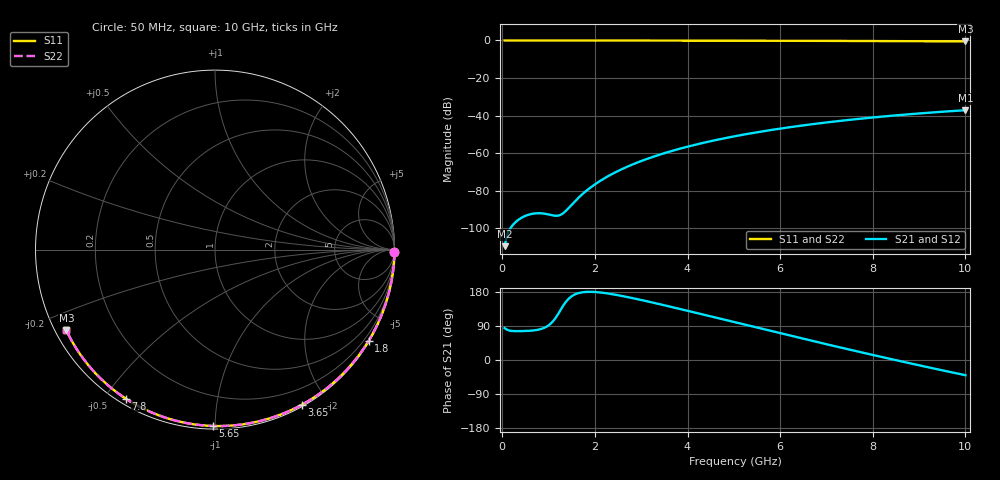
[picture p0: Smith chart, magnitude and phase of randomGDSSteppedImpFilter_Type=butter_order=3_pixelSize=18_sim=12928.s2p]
! freq	dB(S11)	phase(S11)	dB(S12)	phase(S12)
!  dB(S21)	phase(S21)	dB(S22)	phase(S22)
!S-par simulation data
#  GHz  S  DB  R 50
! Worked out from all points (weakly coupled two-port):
!   200 points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, 50 MHz to 10 GHz, reference 50 ohm
!   highest |S21| = -37.12 dB at 10 GHz (marker M1); lowest = -109.5 dB at 50 MHz (marker M2)
!   lowest |S11| = -0.5 dB at 10 GHz (marker M3), VSWR 33.65, Z = 1.58 - j12.7 ohm
!   |S11| at or under -10 dB: nowhere
!   |S22| runs from -0.5 to 0.0 dB; largest |S21 - S12| = 0
!   S11 on the Smith chart (normalised r, x): 50 MHz: open; 1.8 GHz: 0.03, -3.65; 3.65 GHz: 0.02, -1.71; 5.65 GHz: 0.02, -0.99; 7.8 GHz: 0.02, -0.57; 10 GHz: 0.03, -0.25
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0.05  -0.00 -0.9  -109.49 84.2  -109.49 84.2  -0.00 -0.9
0.45  -0.01 -7.8  -93.91 76.4  -93.91 76.4  -0.01 -7.8
0.9  -0.02 -15.5  -92.14 84.6  -92.14 84.6  -0.02 -15.5
1.75  -0.04 -29.8  -81.36 179.0  -81.36 179.0  -0.04 -29.8
1.8  -0.04 -30.7  -80.31 179.6  -80.31 179.6  -0.04 -30.7
1.85  -0.04 -31.5  -79.32 179.9  -79.32 179.9  -0.04 -31.5
2  -0.04 -34.0  -76.59 179.4  -76.59 179.4  -0.04 -34.0
2.15  -0.05 -36.5  -74.18 177.7  -74.18 177.7  -0.05 -36.5
2.5  -0.05 -42.2  -69.46 170.9  -69.46 170.9  -0.05 -42.2
2.9  -0.06 -48.7  -65.13 161.0  -65.13 161.0  -0.06 -48.7
3.4  -0.08 -56.7  -60.76 147.3  -60.76 147.3  -0.08 -56.7
3.65  -0.08 -60.6  -58.89 140.1  -58.89 140.1  -0.08 -60.6
4.3  -0.10 -70.7  -54.72 121.0  -54.72 121.0  -0.10 -70.7
5.05  -0.13 -81.9  -50.84 98.7  -50.84 98.7  -0.13 -81.9
5.65  -0.15 -90.7  -48.26 80.9  -48.26 80.9  -0.15 -90.7
6.15  -0.18 -97.9  -46.38 66.2  -46.38 66.2  -0.18 -97.9
6.7  -0.21 -105.6  -44.55 50.2  -44.55 50.2  -0.21 -105.6
7.25  -0.24 -113.3  -42.92 34.4  -42.92 34.4  -0.24 -113.3
7.8  -0.28 -120.9  -41.48 18.9  -41.48 18.9  -0.28 -120.9
8.35  -0.33 -128.5  -40.19 3.6  -40.19 3.6  -0.33 -128.5
9.2  -0.42 -140.2  -38.48 -19.3  -38.48 -19.3  -0.42 -140.2
10  -0.52 -151.5  -37.12 -40.1  -37.12 -40.1  -0.52 -151.5
